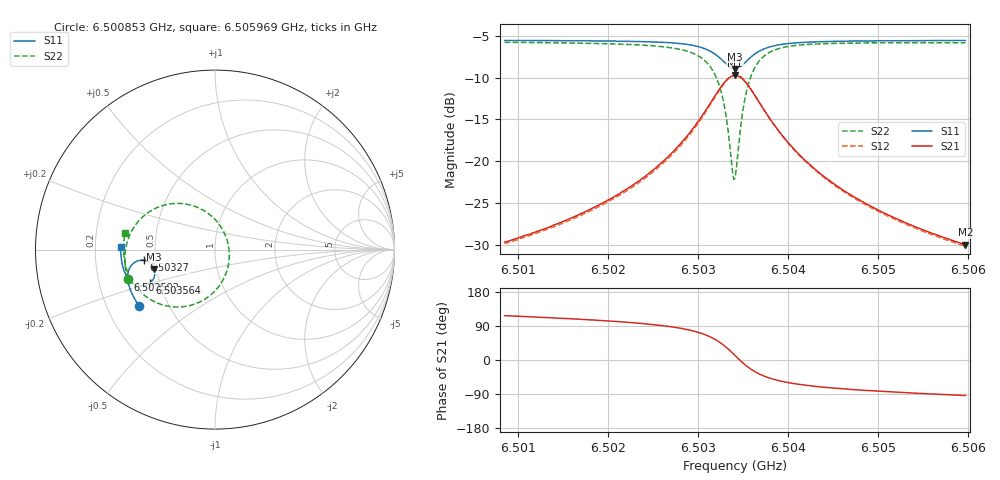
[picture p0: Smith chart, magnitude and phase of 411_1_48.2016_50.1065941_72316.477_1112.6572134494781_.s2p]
#  HZ  S  RI  R  50.00
! Rohde & Schwarz Vector Network Analyzer
! Rohde-Schwarz,ZNB20-2Port,1311601062101988,3.16
! Created: UTC 3/20/2024, 11:54:31 AM
! freq[Hz]  re:S11  im:S11  re:S21  im:S21  re:S12  im:S12  re:S22  im:S22
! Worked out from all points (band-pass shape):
!   401 points, 6.500853 GHz to 6.505969 GHz, reference 50 ohm
!   highest |S21| = -9.74 dB at 6.503411 GHz (marker M1); lowest = -29.9 dB at 6.505969 GHz (marker M2)
!   |S21| within 3 dB of the highest: 6.503155 GHz to 6.503667 GHz (511.5 kHz wide, 0.00787 % of centre)
!   lowest |S11| = -9.0 dB at 6.503411 GHz (marker M3), VSWR 2.10, Z = 24.2 - j6.03 ohm
!   |S11| at or under -10 dB: nowhere
!   |S22| runs from -22.2 to -5.8 dB; largest |S21 - S12| = 0.011
!   S11 on the Smith chart (normalised r, x): 6.500853 GHz: 0.34, -0.30; 6.502592 GHz: 0.33, -0.15; 6.50327 GHz: 0.43, -0.06; 6.503564 GHz: 0.44, -0.20; 6.505969 GHz: 0.31, +0.01
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6.5008529e9  -0.4218 -0.3151  -0.0149 0.0295  -0.0134 0.0294  -0.4866 -0.1634
6.5017098e9  -0.4593 -0.2526  -0.0144 0.047  -0.0121 0.0464  -0.5014 -0.0739
6.5021958e9  -0.4767 -0.21  -0.0116 0.0666  -0.00858 0.0657  -0.4991 -0.00594
6.5025667e9  -0.4858 -0.1695  -0.00307 0.0949  0.000631 0.0928  -0.4809 0.0671
6.5025923e9  -0.4861 -0.1662  -0.00181 0.0977  0.00166 0.0954  -0.4785 0.0732
6.5028353e9  -0.4849 -0.1306  0.0173 0.1315  0.0211 0.1277  -0.4383 0.1439
6.5030143e9  -0.4722 -0.0969  0.0542 0.1684  0.0573 0.1629  -0.3662 0.2107
6.5031678e9  -0.4391 -0.0665  0.1276 0.1989  0.1288 0.1925  -0.2317 0.2566
6.5032701e9  -0.3966 -0.0594  0.2128 0.1903  0.2128 0.1849  -0.0839 0.2291
6.5033213e9  -0.3712 -0.0682  0.2609 0.1624  0.2615 0.158  -0.0038 0.1723
6.5033852e9  -0.3445 -0.0943  0.3083 0.0993  0.3109 0.0945  0.068 0.051
6.5034108e9  -0.3382 -0.1088  0.3186 0.0674  0.3217 0.0618  0.0792 -0.00844
6.5034364e9  -0.3352 -0.1242  0.3223 0.0341  0.3257 0.0273  0.0773 -0.0692
6.5035003e9  -0.3421 -0.161  0.3046 -0.0431  0.3068 -0.0529  0.023 -0.2032
6.5035643e9  -0.3631 -0.1867  0.2623 -0.097  0.2613 -0.1081  -0.0725 -0.2856
6.5036666e9  -0.4023 -0.202  0.1885 -0.1329  0.1832 -0.1423  -0.221 -0.3196
6.5038328e9  -0.4481 -0.1923  0.1075 -0.1302  0.1007 -0.135  -0.3668 -0.2738
6.5040119e9  -0.4754 -0.1709  0.0634 -0.1104  0.0574 -0.1127  -0.4381 -0.2097
6.5042677e9  -0.496 -0.141  0.0337 -0.0866  0.029 -0.0871  -0.4813 -0.1381
6.5046386e9  -0.5112 -0.1026  0.0153 -0.0642  0.012 -0.0639  -0.5032 -0.0657
6.5051246e9  -0.5211 -0.0578  0.00501 -0.0473  0.0028 -0.0467  -0.5099 0.00207
6.5059686e9  -0.5259 0.0133  -0.00199 -0.0318  -0.0034 -0.031  -0.5018 0.0903
